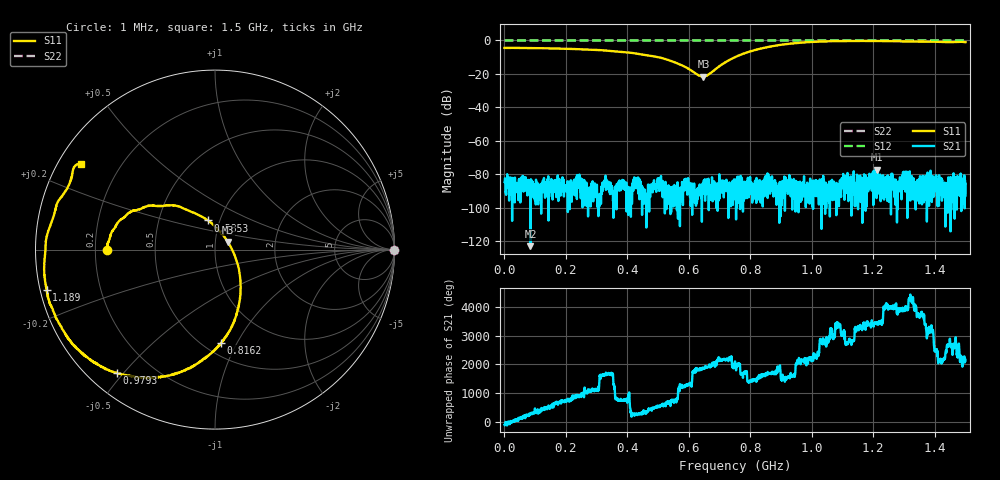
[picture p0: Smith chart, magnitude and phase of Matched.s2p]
! Anritsu VNA Master:  Model: MS2025B
! SN:  1642059
! /bd0/PROE/TP1/P2/Matched.s2p
! Existing Calibration Information:
! TYPE:  Current Settings,  Active Cal Settings
! TIME:  04/23/2024 09:45:54 AM,  03/12/2018 12:18:37 PM
! INTERNAL TEMP:  44.0 C,  41.3 C
! # POINTS:  2143,  4001
! START FREQ:  1.000 MHz,  1.000 MHz
! STOP FREQ:  1.499 864 500 GHz,  2.800 GHz
! SOURCE POWER:  Default,  Default
! IFBW:  1 kHz,  1 kHz
! AVG FACTOR:  1 ,  1
! REF PLANE 1:  0 mm,  0 mm
! REF PLANE 2:  0 mm,  0 mm
! CAL TYPE:  1P2P S11,S21,  1P2P S11,S21
! CAL METHOD:  SOLT,  SOLT
! CAL LINE TYPE:  Coax,  Coax
! DUT PORT 1:  ,
! DUT PORT 2:  N-Conn(M),  N-Conn(M)
! CAL STATUS:  OK: Accuracy High,  --
# GHZ S MA R 50.0
! FREQ.GHZ  S11M  S11A  S21M  S21A  S12M  S12A  S22M  S22A
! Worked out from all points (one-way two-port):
!   2143 points, 1 MHz to 1.5 GHz, reference 50 ohm
!   highest |S21| = -77.22 dB at 1.213 GHz (marker M1); lowest = -122.9 dB at 84.97 MHz (marker M2)
!   lowest |S11| = -21.6 dB at 647.6 MHz (marker M3), VSWR 1.18, Z = 57.4 + j4.96 ohm
!   |S11| at or under -10 dB: 500.7 MHz to 750.1 MHz (249.4 MHz wide, 39.9 % of centre)
!   |S22| runs from 0.0 to 0.0 dB; largest |S21 - S12| = 1
!   S11 on the Smith chart (normalised r, x): 1 MHz: 0.25, -0.00; 585.3 MHz: 0.88, +0.29; 816.2 MHz: 0.61, -0.86; 979.3 MHz: 0.08, -0.48; 1.189 GHz: 0.02, -0.12; 1.5 GHz: 0.07, +0.29
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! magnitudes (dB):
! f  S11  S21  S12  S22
! 1 MHz  -4.4  -84.6  0.0  0.0
! 84.97 MHz  -4.6  -122.9  0.0  0.0
! 250.8 MHz  -5.3  -82.7  0.0  0.0
! 397.1 MHz  -7.1  -84.9  0.0  0.0
! 500.6 MHz  -10.0  -83.5  0.0  0.0
! 546.8 MHz  -12.5  -87.7  0.0  0.0
! 585.3 MHz  -15.5  -87.6  0.0  0.0
! 630.8 MHz  -20.7  -90.1  0.0  0.0
! 647.6 MHz  -21.6  -88.3  0.0  0.0
! 663 MHz  -20.6  -85.7  0.0  0.0
! 709.8 MHz  -14.1  -85.5  0.0  0.0
! 750.4 MHz  -10.0  -94.9  0.0  0.0
! 816.2 MHz  -5.7  -89.7  0.0  0.0
! 892.5 MHz  -2.8  -94.6  0.0  0.0
! 979.3 MHz  -1.1  -87.5  0.0  0.0
! 1 GHz  -0.9  -87.7  0.0  0.0
! 1.189 GHz  -0.3  -84.7  0.0  0.0
! 1.206 GHz  -0.3  -86.3  0.0  0.0
! 1.213 GHz  -0.3  -77.2  0.0  0.0
! 1.25 GHz  -0.4  -86.5  0.0  0.0
! 1.306 GHz  -0.5  -78.4  0.0  0.0
! 1.5 GHz  -1.0  -85.7  0.0  0.0
